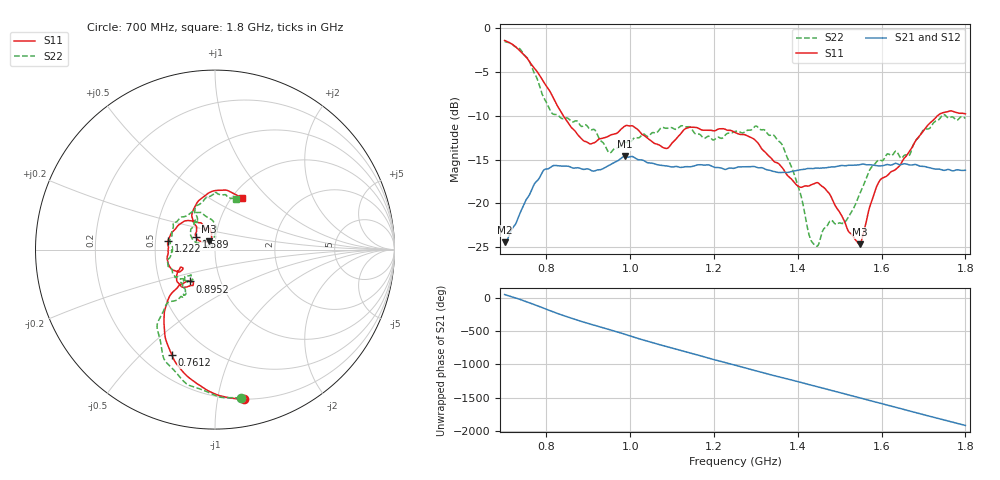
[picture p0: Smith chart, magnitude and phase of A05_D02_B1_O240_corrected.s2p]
! Created with skrf 1.9.0 (http://scikit-rf.org).
# Hz S RI R 50.0
!freq ReS11 ImS11 ReS21 ImS21 ReS12 ImS12 ReS22 ImS22
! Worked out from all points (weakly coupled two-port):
!   1601 points, 700 MHz to 1.8 GHz, reference 50 ohm
!   highest |S21| = -14.65 dB at 986.7 MHz (marker M1); lowest = -24.4 dB at 700.7 MHz (marker M2)
!   lowest |S11| = -24.7 dB at 1.548 GHz (marker M3), VSWR 1.12, Z = 46.3 + j4.27 ohm
!   |S11| at or under -10 dB: 840.2 MHz to 1.733 GHz (893.2 MHz wide, 69.4 % of centre)
!   |S22| runs from -24.9 to -1.5 dB; largest |S21 - S12| = 0.0035
!   S11 on the Smith chart (normalised r, x): 700 MHz: 0.20, -1.19; 761.2 MHz: 0.32, -0.62; 895.2 MHz: 0.72, -0.27; 1.222 GHz: 0.58, +0.06; 1.589 GHz: 0.80, +0.11; 1.8 GHz: 1.11, +0.71
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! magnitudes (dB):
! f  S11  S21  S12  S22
! 700 MHz  -1.4  -24.4  -24.2  -1.5
! 700.7 MHz  -1.4  -24.4  -24.1  -1.5
! 761.2 MHz  -4.0  -18.8  -18.7  -4.0
! 812.1 MHz  -7.6  -15.8  -15.8  -9.7
! 883.6 MHz  -12.6  -16.1  -16.0  -11.2
! 895.2 MHz  -13.0  -16.1  -16.2  -11.1
! 950.2 MHz  -12.3  -15.6  -15.6  -14.2
! 986.7 MHz  -11.2  -14.6  -14.7  -13.0
! 1.067 GHz  -13.3  -15.6  -15.5  -11.7
! 1.222 GHz  -11.5  -16.1  -16.1  -12.5
! 1.25 GHz  -11.9  -16.0  -15.9  -11.8
! 1.361 GHz  -15.8  -16.5  -16.5  -13.2
! 1.401 GHz  -18.0  -16.2  -16.2  -18.0
! 1.434 GHz  -17.8  -16.0  -16.0  -24.4
! 1.47 GHz  -18.6  -15.9  -15.9  -22.6
! 1.513 GHz  -22.2  -15.7  -15.7  -22.1
! 1.548 GHz  -24.7  -15.6  -15.6  -18.9
! 1.589 GHz  -18.0  -15.7  -15.7  -15.2
! 1.617 GHz  -16.7  -15.6  -15.6  -14.4
! 1.665 GHz  -14.2  -15.6  -15.5  -14.6
! 1.736 GHz  -9.9  -16.1  -16.1  -10.5
! 1.8 GHz  -9.8  -16.2  -16.2  -10.3
